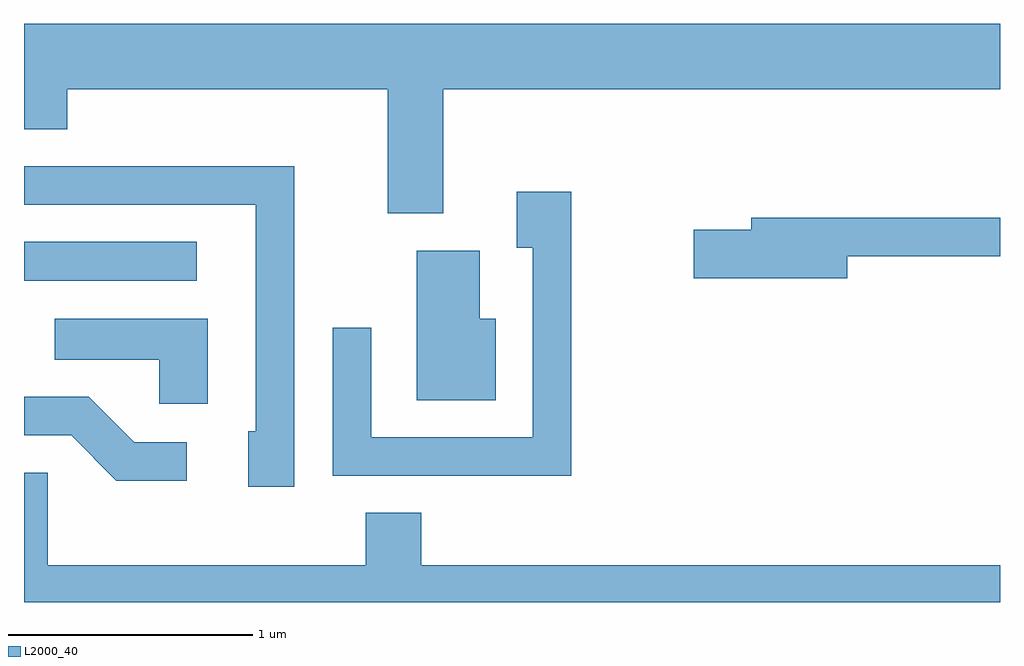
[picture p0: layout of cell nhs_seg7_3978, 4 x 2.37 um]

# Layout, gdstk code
import gdstk
lib = gdstk.Library(unit=1e-6, precision=1e-09)
def R(c, l, rs):  # rectangles x0, y0, x1, y1
    for r in rs: c.add(gdstk.rectangle(r[:2], r[2:], *l))
def P(c, l, *ps):  # polygons
    for p in ps: c.add(gdstk.Polygon(p, *l))
L2000_40 = (2000, 40)

nhs_seg7_3978 = lib.new_cell('nhs_seg7_3978')
R(nhs_seg7_3978, L2000_40, [(307.611,1673.571,308.318,1673.729)])
P(nhs_seg7_3978, L2000_40, [(309.329,1674.356),(311.611,1674.356),(311.611,1674.624),(307.611,1674.624),(307.611,1674.191),(307.789,1674.191),(307.789,1674.356),(309.101,1674.356),(309.101,1673.846),(309.329,1673.846)],
  [(308.719,1674.039),(307.611,1674.039),(307.611,1673.881),(308.561,1673.881),(308.561,1672.954),(308.531,1672.954),(308.531,1672.726),(308.719,1672.726)],
  [(309.854,1673.934),(309.631,1673.934),(309.631,1673.706),(309.696,1673.706),(309.696,1672.929),(309.034,1672.929),(309.034,1673.378),(308.876,1673.378),(308.876,1672.771),(309.854,1672.771)],
  [(310.984,1673.671),(311.611,1673.671),(311.611,1673.829),(310.591,1673.829),(310.591,1673.779),(310.356,1673.779),(310.356,1673.581),(310.984,1673.581)],
  [(309.544,1673.414),(309.479,1673.414),(309.479,1673.694),(309.221,1673.694),(309.221,1673.081),(309.544,1673.081)],
  [(308.364,1673.414),(307.738,1673.414),(307.738,1673.246),(308.166,1673.246),(308.166,1673.066),(308.364,1673.066)],
  [(308.278,1672.909),(308.062,1672.909),(307.877,1673.094),(307.611,1673.094),(307.611,1672.936),(307.804,1672.936),(307.989,1672.751),(308.278,1672.751)],
  [(311.611,1672.404),(309.239,1672.404),(309.239,1672.619),(309.011,1672.619),(309.011,1672.404),(307.709,1672.404),(307.709,1672.784),(307.611,1672.784),(307.611,1672.252),(311.611,1672.252)])

lib.write_gds('nhs_seg7_3978.gds')
